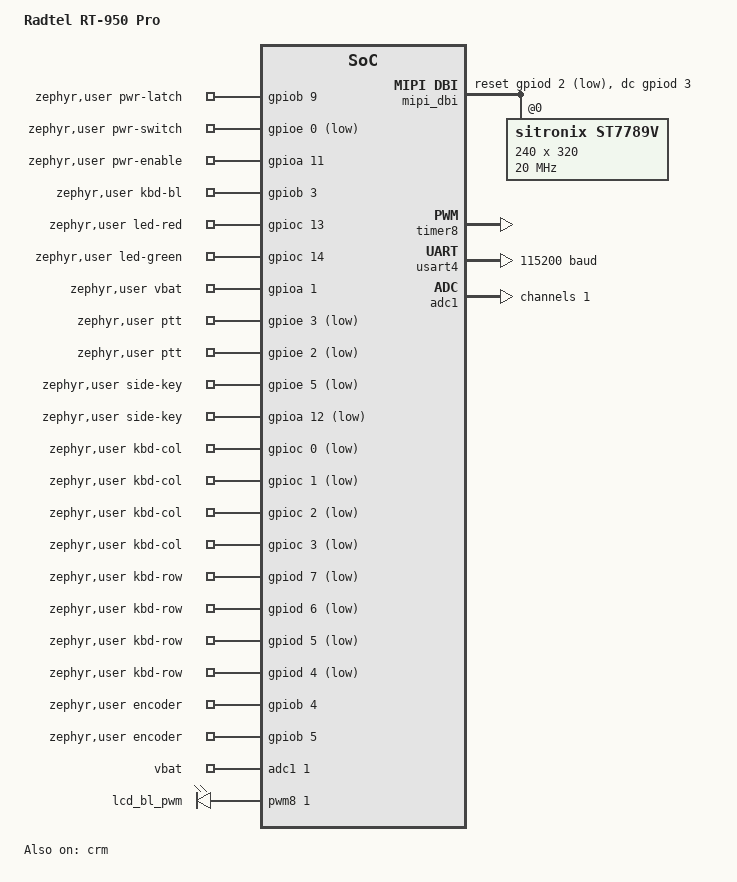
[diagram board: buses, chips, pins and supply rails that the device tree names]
/*
 * SPDX-FileCopyrightText: Copyright 2020-2026 OpenRTX Contributors
 *
 * SPDX-License-Identifier: GPL-3.0-or-later
 */

/*
 * Radtel RT-950 Pro, Artery AT32F403AVGT7 (Cortex-M4F, 1MB flash, 96kB SRAM)
 */

/dts-v1/;
#include <at/at32f403a_407/at32f403avgt7.dtsi>
#include <zephyr/dt-bindings/adc/adc.h>
#include <zephyr/dt-bindings/gpio/gpio.h>
#include <zephyr/dt-bindings/pwm/pwm.h>
#include "rt950pro-pinctrl.dtsi"

/ {
	model = "Radtel RT-950 Pro";
	compatible = "radtel,rt950pro";

	chosen {
		zephyr,console = &usart4;
		zephyr,shell-uart = &usart4;
		zephyr,sram = &sram0;
		zephyr,flash = &flash0;
		zephyr,code-partition = &code_partition;
		zephyr,display = &st7789v;
	};

	/*
	 * ST7789V 240x320 IPS panel on an 8-bit 8080 parallel bus, bit-banged
	 * on GPIOD. The data lines share GPIOD with the keypad rows (PD4-PD7):
	 * the bit-bang driver only touches the data/control pins.
	 */
	mipi_dbi: mipi-dbi {
		compatible = "zephyr,mipi-dbi-bitbang";
		#address-cells = <1>;
		#size-cells = <0>;
		status = "okay";

		wr-gpios = <&gpiod 0 GPIO_ACTIVE_HIGH>;
		cs-gpios = <&gpiod 1 GPIO_ACTIVE_LOW>;
		reset-gpios = <&gpiod 2 GPIO_ACTIVE_LOW>;
		dc-gpios = <&gpiod 3 GPIO_ACTIVE_HIGH>;
		data-gpios = <&gpiod 8 GPIO_ACTIVE_HIGH>,
			     <&gpiod 9 GPIO_ACTIVE_HIGH>,
			     <&gpiod 10 GPIO_ACTIVE_HIGH>,
			     <&gpiod 11 GPIO_ACTIVE_HIGH>,
			     <&gpiod 12 GPIO_ACTIVE_HIGH>,
			     <&gpiod 13 GPIO_ACTIVE_HIGH>,
			     <&gpiod 14 GPIO_ACTIVE_HIGH>,
			     <&gpiod 15 GPIO_ACTIVE_HIGH>;

		/* Init values from the vendor firmware V0.27 LCD_Init sequence */
		st7789v: st7789v@0 {
			compatible = "sitronix,st7789v";
			reg = <0>;
			mipi-max-frequency = <20000000>;
			mipi-mode = "MIPI_DBI_MODE_8080_BUS_8_BIT";
			width = <240>;
			height = <320>;
			x-offset = <0>;
			y-offset = <0>;
			vcom = <0x3f>;
			gctrl = <0x35>;
			vrhs = <0x0f>;
			vdvs = <0x20>;
			mdac = <0xc0>;
			gamma = <0x01>;
			colmod = <0x05>;
			lcm = <0x2c>;
			porch-param = [05 05 00 33 33];
			cmd2en-param = [5a 69 02 01];
			pwctrl1-param = [a4 a1];
			pvgam-param = [d0 05 09 09 08 14 28 33 3f 07 13 14 28 30];
			nvgam-param = [d0 05 09 09 08 03 24 32 32 3b 14 13 28 2f];
			ram-param = [00 f0];
			rgb-param = [cd 08 14];
		};
	};

	/*
	 * Board GPIOs used directly by the OpenRTX platform, display and
	 * keyboard drivers.
	 */
	zephyr,user {
		io-channels = <&adc1 1>;
		io-channel-names = "vbat";

		/* Main power latch: must stay high to keep the radio powered */
		pwr-latch-gpios = <&gpiob 9 GPIO_ACTIVE_HIGH>;

		/* Power/volume knob switch, low when the radio is switched on */
		pwr-switch-gpios = <&gpioe 0 (GPIO_PULL_UP | GPIO_ACTIVE_LOW)>;

		/* Power off */
		pwr-enable-gpios = <&gpioa 11 GPIO_ACTIVE_HIGH>;

		/* Keypad backlight, on/off only */
		kbd-bl-gpios = <&gpiob 3 GPIO_ACTIVE_HIGH>;

		led-red-gpios = <&gpioc 13 GPIO_ACTIVE_HIGH>;
		led-green-gpios = <&gpioc 14 GPIO_ACTIVE_HIGH>;

		/* Battery voltage through a resistive divider, ADC1 channel 1 */
		vbat-gpios = <&gpioa 1 0>;

		ptt-gpios = <&gpioe 3 (GPIO_PULL_UP | GPIO_ACTIVE_LOW)>,
			    <&gpioe 2 (GPIO_PULL_UP | GPIO_ACTIVE_LOW)>;

		/* Programmable side keys: top (PE5) and bottom (PA12) */
		side-key-gpios = <&gpioe 5 (GPIO_PULL_UP | GPIO_ACTIVE_LOW)>,
				 <&gpioa 12 (GPIO_PULL_UP | GPIO_ACTIVE_LOW)>;

		/*
		 * Keypad matrix, columns are driven low one at a time and rows
		 * read back. PC4 is the VHF/UHF antenna relay and must never be
		 * touched by the keypad scan.
		 */
		kbd-col-gpios = <&gpioc 0 GPIO_ACTIVE_LOW>,
				<&gpioc 1 GPIO_ACTIVE_LOW>,
				<&gpioc 2 GPIO_ACTIVE_LOW>,
				<&gpioc 3 GPIO_ACTIVE_LOW>;
				
		/* Rows from top to bottom: PD7, PD6, PD5, PD4 */
		kbd-row-gpios = <&gpiod 7 (GPIO_PULL_UP | GPIO_ACTIVE_LOW)>,
				<&gpiod 6 (GPIO_PULL_UP | GPIO_ACTIVE_LOW)>,
				<&gpiod 5 (GPIO_PULL_UP | GPIO_ACTIVE_LOW)>,
				<&gpiod 4 (GPIO_PULL_UP | GPIO_ACTIVE_LOW)>;

		/* Rotary encoder, channel A and B */
		encoder-gpios = <&gpiob 4 (GPIO_PULL_UP | GPIO_ACTIVE_HIGH)>,
				<&gpiob 5 (GPIO_PULL_UP | GPIO_ACTIVE_HIGH)>;
	};

	pwmleds {
		compatible = "pwm-leds";

		/* LCD backlight brightness, PC6 driven by TMR8 channel 1 */
		lcd_bl_pwm: lcd-bl-pwm {
			pwms = <&pwm8 1 PWM_MSEC(1) PWM_POLARITY_NORMAL>;
		};
	};
};

/* 1MHz timer clock: 120MHz / (119 + 1) */
&timer8 {
	at,prescaler = <119>;
	status = "okay";

	pwm8: pwm {
		pinctrl-0 = <&tmr8_ch1_default>;
		pinctrl-names = "default";
		status = "okay";
	};
};

&gpioa {
	status = "okay";
};

&gpiob {
	status = "okay";
};

&gpioc {
	status = "okay";
};

&gpiod {
	status = "okay";
};

&gpioe {
	status = "okay";
};

/* 8MHz crystal, PLL x15: 120MHz system clock as in the vendor firmware */
&clk_hext {
	clock-frequency = <DT_FREQ_M(8)>;
	status = "okay";
};

&pll {
	/* Values are the HAL enumerators: mul = 14 is CRM_PLL_MULT_15 */
	mul = <14>;
	/* xtpre = 0 selects HEXT undivided as PLL input */
	xtpre = <0>;
	/* CRM_USB_DIV_2_5: 120MHz / 2.5 = 48MHz */
	div_fu = <2>;
	clocks = <&clk_hext>;
	status = "okay";
};

&sysclk {
	clock-frequency = <DT_FREQ_M(120)>;
	status = "okay";
};

&crm {
	clocks = <&pll>;
	clock-frequency = <DT_FREQ_M(120)>;
	ahb-prescaler = <1>;
	apb1-prescaler = <2>;
	apb2-prescaler = <2>;
	status = "okay";
};

&usart4 {
	pinctrl-0 = <&usart4_default>;
	pinctrl-names = "default";
	current-speed = <115200>;
	status = "okay";
};

&adc1 {
	at,adc-clock-source = "SYNC";
	at,adc-prescaler = <2>;
	status = "okay";
	#address-cells = <1>;
	#size-cells = <0>;

	channel@1 {
		reg = <1>;
		zephyr,gain = "ADC_GAIN_1";
		zephyr,reference = "ADC_REF_INTERNAL";
		zephyr,acquisition-time = <ADC_ACQ_TIME(ADC_ACQ_TIME_TICKS, 240)>;
		zephyr,resolution = <12>;
	};
};

&flash0 {
	partitions {
		compatible = "fixed-partitions";
		#address-cells = <1>;
		#size-cells = <1>;

		/* Vendor bootloader, never overwritten */
		boot_partition: partition@0 {
			label = "bootloader";
			reg = <0x00000000 DT_SIZE_K(12)>;
			read-only;
		};

		/* OpenRTX image, uploaded through the vendor bootloader */
		code_partition: partition@3000 {
			label = "code";
			reg = <0x00003000 DT_SIZE_K(1012)>;
		};
	};
};
